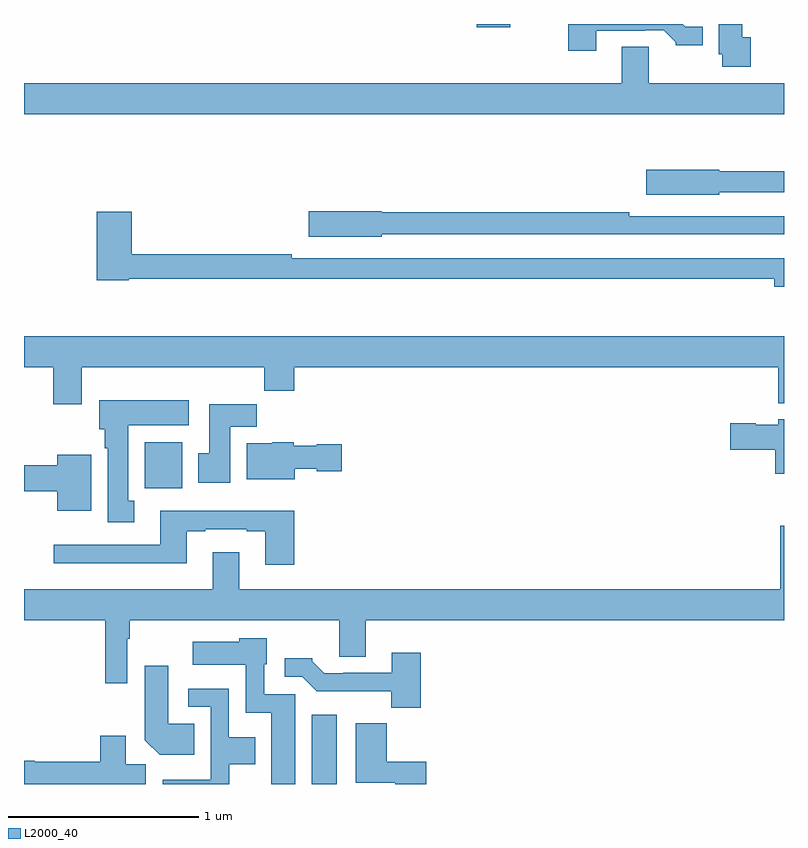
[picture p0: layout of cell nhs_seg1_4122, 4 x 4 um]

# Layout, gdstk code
import gdstk
lib = gdstk.Library(unit=1e-6, precision=1e-09)
def R(c, l, rs):  # rectangles x0, y0, x1, y1
    for r in rs: c.add(gdstk.rectangle(r[:2], r[2:], *l))
def P(c, l, *ps):  # polygons
    for p in ps: c.add(gdstk.Polygon(p, *l))
L2000_40 = (2000, 40)

nhs_seg1_4122 = lib.new_cell('nhs_seg1_4122')
R(nhs_seg1_4122, L2000_40, [(336.515,556.199,336.646,556.564), (335.636,557.756,335.833,557.998), (337.382,560.181,337.56,560.199)])
P(nhs_seg1_4122, L2000_40, [(338.826,560.13),(338.779,560.13),(338.779,560.199),(338.657,560.199),(338.657,560.04),(338.674,560.04),(338.674,559.974),(338.826,559.974)],
  [(338.011,560.163),(338.267,560.163),(338.267,560.166),(338.366,560.166),(338.43,560.102),(338.43,560.087),(338.572,560.087),(338.572,560.184),(338.481,560.184),(338.466,560.199),(337.864,560.199),(337.864,560.058),(338.011,560.058)],
  [(339,559.888),(338.287,559.888),(338.287,560.078),(338.147,560.078),(338.147,559.888),(335,559.888),(335,559.724),(339,559.724)],
  [(338.658,559.314),(339,559.314),(339,559.423),(338.658,559.423),(338.658,559.431),(338.274,559.431),(338.274,559.301),(338.658,559.301)],
  [(336.882,559.092),(339,559.092),(339,559.188),(338.186,559.188),(338.186,559.208),(336.882,559.208),(336.882,559.214),(336.498,559.214),(336.498,559.079),(336.882,559.079)],
  [(339,558.966),(336.41,558.966),(336.41,558.986),(335.567,558.986),(335.567,559.21),(335.384,559.21),(335.384,558.85),(335.55,558.85),(335.55,558.858),(338.948,558.858),(338.948,558.815),(339,558.815)],
  [(335.305,558.392),(336.265,558.392),(336.265,558.268),(336.422,558.268),(336.422,558.392),(338.969,558.392),(338.969,558.203),(339,558.203),(339,558.556),(335,558.556),(335,558.392),(335.153,558.392),(335.153,558.198),(335.305,558.198)],
  [(335.581,557.69),(335.548,557.69),(335.548,558.086),(335.866,558.086),(335.866,558.22),(335.396,558.22),(335.396,558.066),(335.426,558.066),(335.426,557.966),(335.441,557.966),(335.441,557.577),(335.581,557.577)],
  [(336.085,558.08),(336.224,558.08),(336.224,558.199),(335.975,558.199),(335.975,557.94),(335.918,557.94),(335.918,557.784),(336.085,557.784)],
  [(339,558.118),(338.97,558.118),(338.97,558.091),(338.85,558.091),(338.85,558.099),(338.718,558.099),(338.718,557.957),(338.954,557.957),(338.954,557.832),(339,557.832)],
  [(336.424,557.858),(336.54,557.858),(336.54,557.846),(336.673,557.846),(336.673,557.988),(336.54,557.988),(336.54,557.98),(336.42,557.98),(336.42,557.998),(336.306,557.998),(336.306,557.992),(336.173,557.992),(336.173,557.804),(336.424,557.804)],
  [(335.353,557.932),(335.174,557.932),(335.174,557.876),(335,557.876),(335,557.74),(335.174,557.74),(335.174,557.636),(335.353,557.636)],
  [(336.422,557.638),(335.717,557.638),(335.717,557.457),(335.157,557.457),(335.157,557.36),(335.857,557.36),(335.857,557.529),(335.953,557.529),(335.953,557.541),(336.173,557.541),(336.173,557.529),(336.269,557.529),(336.269,557.352),(336.422,557.352)],
  [(335.544,556.964),(335.557,556.964),(335.557,557.06),(336.659,557.06),(336.659,556.87),(336.799,556.87),(336.799,557.06),(339,557.06),(339,557.557),(338.98,557.557),(338.98,557.224),(336.133,557.224),(336.133,557.419),(335.993,557.419),(335.993,557.224),(335,557.224),(335,557.06),(335.428,557.06),(335.428,556.728),(335.544,556.728)],
  [(336.427,556.671),(336.264,556.671),(336.264,556.83),(336.277,556.83),(336.277,556.966),(336.132,556.966),(336.132,556.948),(335.889,556.948),(335.889,556.826),(336.168,556.826),(336.168,556.574),(336.302,556.574),(336.302,556.199),(336.427,556.199)],
  [(337.088,556.891),(336.935,556.891),(336.935,556.785),(336.679,556.785),(336.679,556.782),(336.58,556.782),(336.516,556.846),(336.516,556.861),(336.372,556.861),(336.372,556.764),(336.465,556.764),(336.541,556.688),(336.933,556.688),(336.933,556.601),(337.088,556.601)],
  [(335.897,556.516),(335.758,556.516),(335.758,556.822),(335.636,556.822),(335.636,556.43),(335.714,556.352),(335.897,556.352)],
  [(336.081,556.304),(336.217,556.304),(336.217,556.444),(336.078,556.444),(336.078,556.701),(335.865,556.701),(335.865,556.605),(335.982,556.605),(335.982,556.222),(335.729,556.222),(335.729,556.199),(336.081,556.199)],
  [(337.117,556.315),(336.908,556.315),(336.908,556.519),(336.746,556.519),(336.746,556.205),(336.954,556.205),(336.954,556.199),(337.117,556.199)],
  [(335.641,556.304),(335.536,556.304),(335.536,556.453),(335.402,556.453),(335.402,556.316),(335.056,556.316),(335.056,556.322),(335,556.322),(335,556.199),(335.641,556.199)])

lib.write_gds('nhs_seg1_4122.gds')
